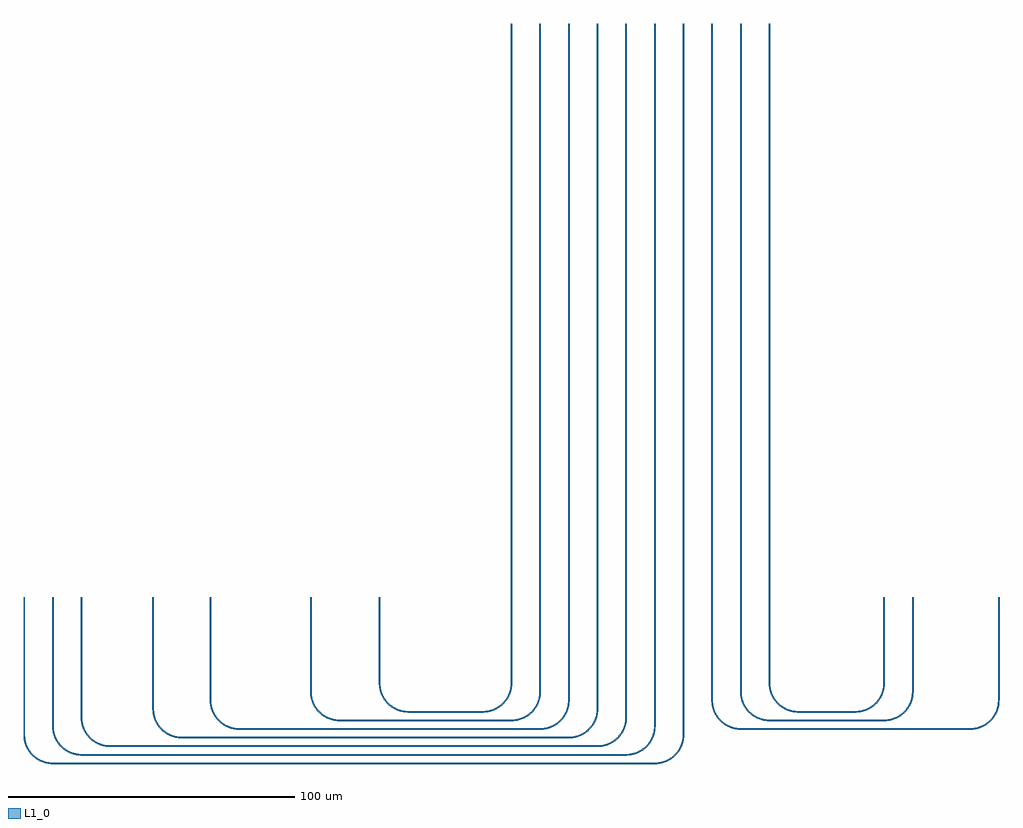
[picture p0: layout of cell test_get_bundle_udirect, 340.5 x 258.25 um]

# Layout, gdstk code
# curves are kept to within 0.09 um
from math import pi, radians
import gdstk
lib = gdstk.Library(unit=1e-6, precision=1e-09)
def R(c, l, rs):  # rectangles x0, y0, x1, y1
    for r in rs: c.add(gdstk.rectangle(r[:2], r[2:], *l))
def P(c, l, *ps):  # polygons
    for p in ps: c.add(gdstk.Polygon(p, *l))
L1_0 = (1, 0)

bend_circular_a459ac5d = lib.new_cell('bend_circular_a459ac5d')
P(bend_circular_a459ac5d, L1_0, [(0,-0.25),(1.838,-0.084),(2.865,0.158),(3.861,0.505),(5.501,1.351),(6.361,1.963),(7.154,2.659),(7.871,3.434),(8.504,4.278),(9.047,5.183),(9.495,6.139),(9.842,7.135),(10.084,8.162),(10.25,10),(9.75,10),(9.698,8.997),(9.544,8.006),(9.209,6.797),(8.831,5.867),(7.947,4.351),(6.982,3.195),(5.649,2.053),(4.359,1.279),(3.203,0.791),(2.239,0.511),(1.252,0.331),(0,0.25)])

straight_1f513f12 = lib.new_cell('straight_1f513f12')
R(straight_1f513f12, L1_0, [(0,-0.25,30,0.25)])

straight_00d52ccf = lib.new_cell('straight_00d52ccf')
R(straight_00d52ccf, L1_0, [(0,-0.25,26,0.25)])

straight_3dcd8550 = lib.new_cell('straight_3dcd8550')
R(straight_3dcd8550, L1_0, [(0,-0.25,230,0.25)])

straight_8100e74e = lib.new_cell('straight_8100e74e')
R(straight_8100e74e, L1_0, [(0,-0.25,33,0.25)])

straight_6ad17afb = lib.new_cell('straight_6ad17afb')
R(straight_6ad17afb, L1_0, [(0,-0.25,60,0.25)])

straight_3111b132 = lib.new_cell('straight_3111b132')
R(straight_3111b132, L1_0, [(0,-0.25,233,0.25)])

straight_65fc6546 = lib.new_cell('straight_65fc6546')
R(straight_65fc6546, L1_0, [(0,-0.25,36,0.25)])

straight_be576524 = lib.new_cell('straight_be576524')
R(straight_be576524, L1_0, [(0,-0.25,105,0.25)])

straight_e58fd5f4 = lib.new_cell('straight_e58fd5f4')
R(straight_e58fd5f4, L1_0, [(0,-0.25,236,0.25)])

straight_7858b3f2 = lib.new_cell('straight_7858b3f2')
R(straight_7858b3f2, L1_0, [(0,-0.25,39,0.25)])

straight_5f29e020 = lib.new_cell('straight_5f29e020')
R(straight_5f29e020, L1_0, [(0,-0.25,135,0.25)])

straight_ec8cc206 = lib.new_cell('straight_ec8cc206')
R(straight_ec8cc206, L1_0, [(0,-0.25,239,0.25)])

straight_f3f3ef87 = lib.new_cell('straight_f3f3ef87')
R(straight_f3f3ef87, L1_0, [(0,-0.25,42,0.25)])

straight_92aa7643 = lib.new_cell('straight_92aa7643')
R(straight_92aa7643, L1_0, [(0,-0.25,170,0.25)])

straight_02a8f640 = lib.new_cell('straight_02a8f640')
R(straight_02a8f640, L1_0, [(0,-0.25,242,0.25)])

straight_88bc8513 = lib.new_cell('straight_88bc8513')
R(straight_88bc8513, L1_0, [(0,-0.25,45,0.25)])

straight_2fa96eb8 = lib.new_cell('straight_2fa96eb8')
R(straight_2fa96eb8, L1_0, [(0,-0.25,190,0.25)])

straight_c3b60f3e = lib.new_cell('straight_c3b60f3e')
R(straight_c3b60f3e, L1_0, [(0,-0.25,245,0.25)])

straight_c7efa6ab = lib.new_cell('straight_c7efa6ab')
R(straight_c7efa6ab, L1_0, [(0,-0.25,48,0.25)])

straight_43eea1c3 = lib.new_cell('straight_43eea1c3')
R(straight_43eea1c3, L1_0, [(0,-0.25,210,0.25)])

straight_710cea8d = lib.new_cell('straight_710cea8d')
R(straight_710cea8d, L1_0, [(0,-0.25,248,0.25)])

straight_f1d7b369 = lib.new_cell('straight_f1d7b369')
R(straight_f1d7b369, L1_0, [(0,-0.25,20,0.25)])

straight_85e3ac4c = lib.new_cell('straight_85e3ac4c')
R(straight_85e3ac4c, L1_0, [(0,-0.25,40,0.25)])

straight_211447cc = lib.new_cell('straight_211447cc')
R(straight_211447cc, L1_0, [(0,-0.25,80,0.25)])

test_get_bundle_udirect = lib.new_cell('test_get_bundle_udirect')
test_get_bundle_udirect.add(gdstk.Reference(bend_circular_a459ac5d, (24,-30), rotation=3*pi/2))
test_get_bundle_udirect.add(gdstk.Reference(bend_circular_a459ac5d, (60,-40)))
test_get_bundle_udirect.add(gdstk.Reference(straight_1f513f12, (24,0), rotation=3*pi/2))
test_get_bundle_udirect.add(gdstk.Reference(straight_00d52ccf, (34,-40)))
test_get_bundle_udirect.add(gdstk.Reference(straight_3dcd8550, (70,-30), rotation=pi/2))
test_get_bundle_udirect.add(gdstk.Reference(bend_circular_a459ac5d, (0,-33), rotation=3*pi/2))
test_get_bundle_udirect.add(gdstk.Reference(bend_circular_a459ac5d, (70,-43)))
test_get_bundle_udirect.add(gdstk.Reference(straight_8100e74e, (0,0), rotation=3*pi/2))
test_get_bundle_udirect.add(gdstk.Reference(straight_6ad17afb, (10,-43)))
test_get_bundle_udirect.add(gdstk.Reference(straight_3111b132, (80,-33), rotation=pi/2))
test_get_bundle_udirect.add(gdstk.Reference(bend_circular_a459ac5d, (-35,-36), rotation=3*pi/2))
test_get_bundle_udirect.add(gdstk.Reference(bend_circular_a459ac5d, (80,-46)))
test_get_bundle_udirect.add(gdstk.Reference(straight_65fc6546, (-35,0), rotation=3*pi/2))
test_get_bundle_udirect.add(gdstk.Reference(straight_be576524, (-25,-46)))
test_get_bundle_udirect.add(gdstk.Reference(straight_e58fd5f4, (90,-36), rotation=pi/2))
test_get_bundle_udirect.add(gdstk.Reference(bend_circular_a459ac5d, (-55,-39), rotation=3*pi/2))
test_get_bundle_udirect.add(gdstk.Reference(bend_circular_a459ac5d, (90,-49)))
test_get_bundle_udirect.add(gdstk.Reference(straight_7858b3f2, (-55,0), rotation=3*pi/2))
test_get_bundle_udirect.add(gdstk.Reference(straight_5f29e020, (-45,-49)))
test_get_bundle_udirect.add(gdstk.Reference(straight_ec8cc206, (100,-39), rotation=pi/2))
test_get_bundle_udirect.add(gdstk.Reference(bend_circular_a459ac5d, (-80,-42), rotation=3*pi/2))
test_get_bundle_udirect.add(gdstk.Reference(bend_circular_a459ac5d, (100,-52)))
test_get_bundle_udirect.add(gdstk.Reference(straight_f3f3ef87, (-80,0), rotation=3*pi/2))
test_get_bundle_udirect.add(gdstk.Reference(straight_92aa7643, (-70,-52)))
test_get_bundle_udirect.add(gdstk.Reference(straight_02a8f640, (110,-42), rotation=pi/2))
test_get_bundle_udirect.add(gdstk.Reference(bend_circular_a459ac5d, (-90,-45), rotation=3*pi/2))
test_get_bundle_udirect.add(gdstk.Reference(bend_circular_a459ac5d, (110,-55)))
test_get_bundle_udirect.add(gdstk.Reference(straight_88bc8513, (-90,0), rotation=3*pi/2))
test_get_bundle_udirect.add(gdstk.Reference(straight_2fa96eb8, (-80,-55)))
test_get_bundle_udirect.add(gdstk.Reference(straight_c3b60f3e, (120,-45), rotation=pi/2))
test_get_bundle_udirect.add(gdstk.Reference(bend_circular_a459ac5d, (-100,-48), rotation=3*pi/2))
test_get_bundle_udirect.add(gdstk.Reference(bend_circular_a459ac5d, (120,-58)))
test_get_bundle_udirect.add(gdstk.Reference(straight_c7efa6ab, (-100,0), rotation=3*pi/2))
test_get_bundle_udirect.add(gdstk.Reference(straight_43eea1c3, (-90,-58)))
test_get_bundle_udirect.add(gdstk.Reference(straight_710cea8d, (130,-48), rotation=pi/2))
test_get_bundle_udirect.add(gdstk.Reference(bend_circular_a459ac5d, (200,-30), rotation=3*pi/2, x_reflection=True))
test_get_bundle_udirect.add(gdstk.Reference(bend_circular_a459ac5d, (170,-40), rotation=pi, x_reflection=True))
test_get_bundle_udirect.add(gdstk.Reference(straight_1f513f12, (200,0), rotation=3*pi/2))
test_get_bundle_udirect.add(gdstk.Reference(straight_f1d7b369, (190,-40), rotation=pi))
test_get_bundle_udirect.add(gdstk.Reference(straight_3dcd8550, (160,-30), rotation=pi/2))
test_get_bundle_udirect.add(gdstk.Reference(bend_circular_a459ac5d, (210,-33), rotation=3*pi/2, x_reflection=True))
test_get_bundle_udirect.add(gdstk.Reference(bend_circular_a459ac5d, (160,-43), rotation=pi, x_reflection=True))
test_get_bundle_udirect.add(gdstk.Reference(straight_8100e74e, (210,0), rotation=3*pi/2))
test_get_bundle_udirect.add(gdstk.Reference(straight_85e3ac4c, (200,-43), rotation=pi))
test_get_bundle_udirect.add(gdstk.Reference(straight_3111b132, (150,-33), rotation=pi/2))
test_get_bundle_udirect.add(gdstk.Reference(bend_circular_a459ac5d, (240,-36), rotation=3*pi/2, x_reflection=True))
test_get_bundle_udirect.add(gdstk.Reference(bend_circular_a459ac5d, (150,-46), rotation=pi, x_reflection=True))
test_get_bundle_udirect.add(gdstk.Reference(straight_65fc6546, (240,0), rotation=3*pi/2))
test_get_bundle_udirect.add(gdstk.Reference(straight_211447cc, (230,-46), rotation=pi))
test_get_bundle_udirect.add(gdstk.Reference(straight_e58fd5f4, (140,-36), rotation=pi/2))

lib.write_gds('test_get_bundle_udirect.gds')
